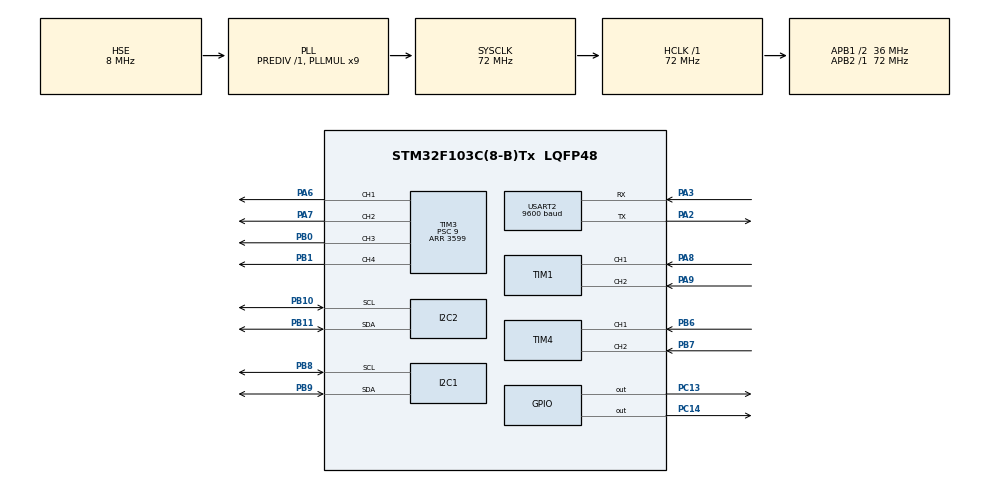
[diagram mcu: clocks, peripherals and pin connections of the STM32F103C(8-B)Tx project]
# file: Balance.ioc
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I2C1.I2C_Mode=I2C_Fast
I2C2.I2C_Mode=I2C_Fast
Mcu.Family=STM32F1
Mcu.Name=STM32F103C(8-B)Tx
Mcu.Package=LQFP48
NVIC.PriorityGroup=NVIC_PRIORITYGROUP_4
NVIC.TIM2_IRQn=true\:1\:0\:true\:false\:true\:true\:true\:true
NVIC.USART2_IRQn=true\:2\:0\:true\:false\:true\:true\:true\:true
PA13.Mode=Serial_Wire
PA13.Signal=SYS_JTMS-SWDIO
PA14.Mode=Serial_Wire
PA14.Signal=SYS_JTCK-SWCLK
PA2.Mode=Asynchronous
PA2.Signal=USART2_TX
PA3.Mode=Asynchronous
PA3.Signal=USART2_RX
PA6.Signal=S_TIM3_CH1
PA7.Signal=S_TIM3_CH2
PA8.Signal=S_TIM1_CH1
PA9.Signal=S_TIM1_CH2
PB0.Signal=S_TIM3_CH3
PB1.Signal=S_TIM3_CH4
PB10.Mode=I2C
PB10.Signal=I2C2_SCL
PB11.Mode=I2C
PB11.Signal=I2C2_SDA
PB6.Signal=S_TIM4_CH1
PB7.Signal=S_TIM4_CH2
PB8.Mode=I2C
PB8.Signal=I2C1_SCL
PB9.Mode=I2C
PB9.Signal=I2C1_SDA
PC13-TAMPER-RTC.Signal=GPIO_Output
PC14-OSC32_IN.Signal=GPIO_Output
PD0-OSC_IN.Mode=HSE-External-Oscillator
PD0-OSC_IN.Signal=RCC_OSC_IN
PD1-OSC_OUT.Mode=HSE-External-Oscillator
PD1-OSC_OUT.Signal=RCC_OSC_OUT
ProjectManager.HeapSize=0x200
ProjectManager.StackSize=0x400
ProjectManager.TargetToolchain=STM32CubeIDE
RCC.AHBFreq_Value=72000000
RCC.APB1CLKDivider=RCC_HCLK_DIV2
RCC.APB1Freq_Value=36000000
RCC.APB1TimFreq_Value=72000000
RCC.APB2Freq_Value=72000000
RCC.APB2TimFreq_Value=72000000
RCC.HCLKFreq_Value=72000000
RCC.PLLMUL=RCC_PLL_MUL9
RCC.PLLSourceVirtual=RCC_PLLSOURCE_HSE
RCC.SYSCLKFreq_VALUE=72000000
RCC.SYSCLKSource=RCC_SYSCLKSOURCE_PLLCLK
RCC.USBFreq_Value=72000000
SH.S_TIM1_CH1.0=TIM1_CH1,Encoder_Interface
SH.S_TIM1_CH2.0=TIM1_CH2,Encoder_Interface
SH.S_TIM3_CH1.0=TIM3_CH1,PWM Generation1 CH1
SH.S_TIM3_CH2.0=TIM3_CH2,PWM Generation2 CH2
SH.S_TIM3_CH3.0=TIM3_CH3,PWM Generation3 CH3
SH.S_TIM3_CH4.0=TIM3_CH4,PWM Generation4 CH4
SH.S_TIM4_CH1.0=TIM4_CH1,Encoder_Interface
SH.S_TIM4_CH2.0=TIM4_CH2,Encoder_Interface
TIM2.Period=7199
TIM2.Prescaler=99
TIM3.Channel-PWM\ Generation1\ CH1=TIM_CHANNEL_1
TIM3.Channel-PWM\ Generation2\ CH2=TIM_CHANNEL_2
TIM3.Channel-PWM\ Generation3\ CH3=TIM_CHANNEL_3
TIM3.Channel-PWM\ Generation4\ CH4=TIM_CHANNEL_4
TIM3.Period=3599
TIM3.Prescaler=9
USART2.BaudRate=9600
USART2.VirtualMode=VM_ASYNC
VP_TIM2_VS_ClockSourceINT.Mode=Internal
VP_TIM3_VS_ClockSourceINT.Mode=Internal
board=custom

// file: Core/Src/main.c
/* USER CODE BEGIN Header */
/**
  ******************************************************************************
  * @file           : main.c
  * @brief          : Main program body
  ******************************************************************************
  * @attention
  *
  * Copyright (c) 2023 STMicroelectronics.
  * All rights reserved.
  *
  * This software is licensed under terms that can be found in the LICENSE file
  * in the root directory of this software component.
  * If no LICENSE file comes with this software, it is provided AS-IS.
  *
  ******************************************************************************
  */
/* USER CODE END Header */
#include "main.h"
#include "i2c.h"
#include "tim.h"
#include "usart.h"
#include "gpio.h"

/* USER CODE BEGIN Includes */
#include "mpu6050.h"
#include "motor.h"
#include "Balance_fis.h"
#include <stdio.h>
#include <stdint.h>
#include <string.h>
#include <stdlib.h>
#include <complex.h>
/* USER CODE END Includes */

/* USER CODE BEGIN PD */

#define K_pitch 1/5
#define K_pitch_dot 1/100
#define K_u 3000
/* USER CODE END PD */

void SystemClock_Config(void);

/* USER CODE BEGIN 0 */

typedef struct {
	float pitch_dot;
	float pitch;
	float input[2];
	float output;
}Balance_t;

enum filter
{
	Kalman,
	CF,
	R,
	L,
	F,
	D
};

enum filter current;

uint32_t tim;

MPU6050_t MPU;
Motor_t motor1, motor2;
Balance_t Balance;

uint8_t buff[1];
int i;

uint8_t buffer[10];

char result[20];

/* USER CODE END 0 */

int main(void)
{

  /* MCU Configuration--------------------------------------------------------*/

  /* Reset of all peripherals, Initializes the Flash interface and the Systick. */
  HAL_Init();

  /* Configure the system clock */
  SystemClock_Config();

  /* Initialize all configured peripherals */
  MX_GPIO_Init();
  MX_TIM2_Init();
  MX_TIM3_Init();
  MX_USART2_UART_Init();
  MX_I2C1_Init();
  MX_TIM1_Init();
  MX_TIM4_Init();
  MX_I2C2_Init();
  /* USER CODE BEGIN 2 */
  HAL_TIM_Base_Start_IT(&htim2);

  HAL_TIM_PWM_Start(&htim3, TIM_CHANNEL_1);
  HAL_TIM_PWM_Start(&htim3, TIM_CHANNEL_2);
  HAL_TIM_PWM_Start(&htim3, TIM_CHANNEL_3);
  HAL_TIM_PWM_Start(&htim3, TIM_CHANNEL_4);

  while(MPU6050_Init(&hi2c2) == 1);

  Balance_init();

  current = CF;

  /* USER CODE END 2 */

  /* Infinite loop */
  while (1)
  {

  }
}

void SystemClock_Config(void)
{
  RCC_OscInitTypeDef RCC_OscInitStruct = {0};
  RCC_ClkInitTypeDef RCC_ClkInitStruct = {0};

  /** Initializes the RCC Oscillators according to the specified parameters
  * in the RCC_OscInitTypeDef structure.
  */
  RCC_OscInitStruct.OscillatorType = RCC_OSCILLATORTYPE_HSE;
  RCC_OscInitStruct.HSEState = RCC_HSE_ON;
  RCC_OscInitStruct.HSEPredivValue = RCC_HSE_PREDIV_DIV1;
  RCC_OscInitStruct.HSIState = RCC_HSI_ON;
  RCC_OscInitStruct.PLL.PLLState = RCC_PLL_ON;
  RCC_OscInitStruct.PLL.PLLSource = RCC_PLLSOURCE_HSE;
  RCC_OscInitStruct.PLL.PLLMUL = RCC_PLL_MUL9;
  if (HAL_RCC_OscConfig(&RCC_OscInitStruct) != HAL_OK)
  {
    Error_Handler();
  }

  /** Initializes the CPU, AHB and APB buses clocks
  */
  RCC_ClkInitStruct.ClockType = RCC_CLOCKTYPE_HCLK|RCC_CLOCKTYPE_SYSCLK
                              |RCC_CLOCKTYPE_PCLK1|RCC_CLOCKTYPE_PCLK2;
  RCC_ClkInitStruct.SYSCLKSource = RCC_SYSCLKSOURCE_PLLCLK;
  RCC_ClkInitStruct.AHBCLKDivider = RCC_SYSCLK_DIV1;
  RCC_ClkInitStruct.APB1CLKDivider = RCC_HCLK_DIV2;
  RCC_ClkInitStruct.APB2CLKDivider = RCC_HCLK_DIV1;

  if (HAL_RCC_ClockConfig(&RCC_ClkInitStruct, FLASH_LATENCY_2) != HAL_OK)
  {
    Error_Handler();
  }
}

/* USER CODE BEGIN 4 */

void HAL_TIM_PeriodElapsedCallback(TIM_HandleTypeDef *htim)
{

	  if(htim->Instance == htim2.Instance)
	  {

		      MPU6050_Read_All(&hi2c2, &MPU);

			  Balance.pitch_dot = MPU.Gy;
			  Balance.input[0] = MPU.CFAngleY *  K_pitch;
			  Balance.input[1] = Balance.pitch_dot * K_pitch_dot;

			  Balance.pitch = MPU.CFAngleY;

			  Balance_run(Balance.input, &Balance.output);

			  if(Balance.input[0] < -10 || Balance.input[0] > 10)
				  	  {
					  	  Balance.output = 0;
				  	  }

			  MotorSetDuty1(Balance.output * K_u);
			  MotorSetDuty2(Balance.output * K_u);

}
}

/* USER CODE END 4 */

void Error_Handler(void)
{
  __disable_irq();
  while (1)
  {
  }
}
